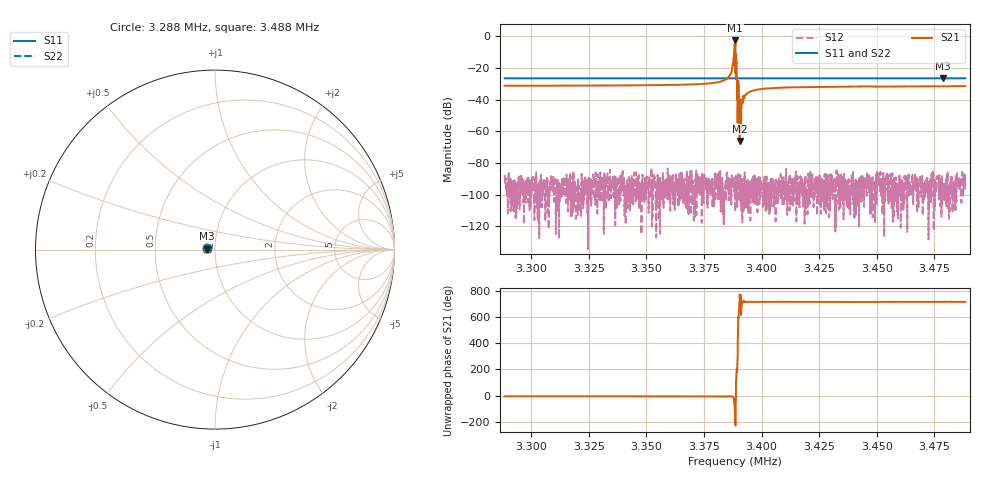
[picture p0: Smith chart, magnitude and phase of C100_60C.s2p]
# Hz S dB R 50.000
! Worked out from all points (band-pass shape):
!   6401 points, 3.288 MHz to 3.488 MHz, reference 50 ohm
!   highest |S21| = -2.53 dB at 3.388 MHz (marker M1); lowest = -66.1 dB at 3.39 MHz (marker M2)
!   |S21| within 3 dB of the highest: 3.388254 MHz to 3.388492 MHz (238.4 Hz wide, 0.00704 % of centre); 3.388573 MHz to 3.388605 MHz (31.7 Hz wide, 0.000935 % of centre)
!   lowest |S11| = -26.5 dB at 3.479 MHz (marker M3), VSWR 1.10, Z = 45.5 + j0.457 ohm
!   |S11| at or under -10 dB: start of sweep to end of sweep
!   |S22| runs from -26.4 to -26.3 dB; largest |S21 - S12| = 0.75
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3288438  -26.46 172.3  -31.15 -4.4  -87.56 17.4  -26.35 166.9
3321782  -26.46 172.6  -31.04 -4.5  -93.13 -17.4  -26.37 167.1
3355126  -26.46 172.9  -30.75 -4.6  -102.74 94.1  -26.38 167.5
3382626  -26.47 173.0  -28.31 -4.8  -102.07 120.8  -26.39 167.7
3385938  -26.46 173.1  -25.20 -5.0  -96.64 60.1  -26.39 167.7
3386813  -26.47 173.1  -22.77 -5.3  -106.28 -9.2  -26.39 167.8
3387313  -26.47 173.1  -19.46 -5.3  -92.26 20.1  -26.38 167.8
3387657  -26.47 173.1  -18.18 -14.1  -92.90 74.2  -26.39 167.8
3388157  -26.47 173.1  -8.05 -53.3  -93.07 -48.3  -26.38 167.9
3388438  -26.47 173.1  -2.53 -136.1  -90.72 -36.8  -26.35 167.7
3389094  -26.47 173.1  -17.66 -172.2  -94.76 -5.7  -26.39 167.8
3389688  -26.46 173.1  -28.57 87.8  -87.11 -85.1  -26.39 167.8
3390188  -26.47 173.1  -38.21 -47.5  -88.07 19.0  -26.39 167.8
3390469  -26.47 173.1  -66.06 50.8  -96.19 -53.6  -26.39 167.8
3391250  -26.47 173.1  -41.58 -39.6  -96.44 -166.2  -26.40 167.8
3392219  -26.47 173.1  -38.74 4.2  -104.67 -29.3  -26.39 167.8
3393000  -26.47 173.1  -36.87 -4.1  -96.21 49.6  -26.40 167.8
3397750  -26.47 173.2  -33.68 -4.7  -95.49 36.2  -26.39 167.9
3421782  -26.47 173.4  -31.90 -4.8  -94.55 82.1  -26.40 168.1
3455126  -26.48 173.7  -31.62 -5.0  -102.52 -101.2  -26.42 168.4
3478750  -26.49 173.9  -31.50 -4.8  -94.24 46.5  -26.42 168.6
3488438  -26.49 174.0  -31.41 -4.9  -93.13 22.3  -26.43 168.7
